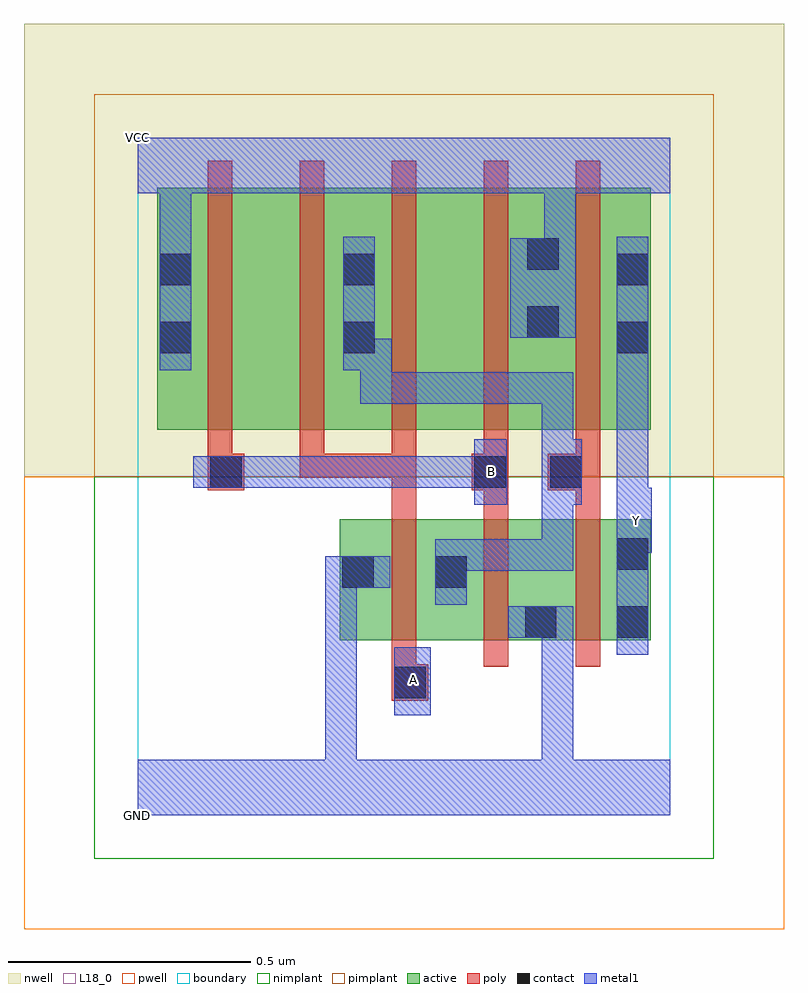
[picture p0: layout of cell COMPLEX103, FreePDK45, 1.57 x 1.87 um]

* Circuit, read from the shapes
.subckt COMPLEX103 A B GND VCC Y
M1 n1 A GND VSUBS nfet w=0.25u l=0.05u
M2 GND B n1 VSUBS nfet w=0.25u l=0.05u
M3 Y n1 GND VSUBS nfet w=0.25u l=0.05u
M4 n2 B VCC n3 pfet w=0.5u l=0.05u
M5 n1 A n2 n3 pfet w=0.5u l=0.05u
M6 n4 A n1 n3 pfet w=0.5u l=0.05u
M7 VCC B n4 n3 pfet w=0.5u l=0.05u
M8 Y n1 VCC n3 pfet w=0.5u l=0.05u
.ends

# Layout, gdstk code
import gdstk
lib = gdstk.Library(unit=1e-6, precision=1e-09)
def R(c, l, rs):  # rectangles x0, y0, x1, y1
    for r in rs: c.add(gdstk.rectangle(r[:2], r[2:], *l))
def A(c, l, x, y, w, h, nx, ny, dx, dy):  # array of equal rectangles
    R(c, l, [(x+i*dx, y+j*dy, x+i*dx+w, y+j*dy+h) for i in range(nx) for j in range(ny)])
active = (1, 0)
pwell = (2, 0)
nwell = (3, 0)
nimplant = (4, 0)
pimplant = (5, 0)
poly = (9, 0)
contact = (10, 0)
metal1 = (11, 0)
L18_0 = (18, 0)
boundary = (235, 0)

complex103 = lib.new_cell('COMPLEX103')
R(complex103, active, [(0.417,0.362,0.685,0.612), (0.61,0.362,0.87,0.612), (0.795,0.362,1.06,0.612), (0.795,0.362,0.87,0.497), (0.985,0.362,1.06,0.612), (0.417,0.395,0.492,0.612), (0.61,0.395,0.685,0.54), (0.04,0.797,0.115,1.297), (0.04,0.797,0.265,1.297), (0.265,0.797,0.495,1.297), (0.42,0.797,0.495,1.2), (0.42,0.797,0.645,1.297), (0.645,0.797,0.875,1.297), (0.8,0.797,1.06,1.297), (0.8,0.797,0.875,1.297), (0.985,0.797,1.06,1.2)])
R(complex103, pwell, [(-0.235,-0.235,1.335,0.7)])
R(complex103, nwell, [(-0.235,0.7,1.335,1.635)])
R(complex103, nimplant, [(-0.09,-0.09,1.19,0.7)])
R(complex103, pimplant, [(-0.09,0.7,1.19,1.49)])
A(complex103, poly, 0.525, 0.307, 0.05, 0.36, 3, 1, 0.19, 0)
A(complex103, poly, 0.145, 0.697, 0.05, 0.095, 5, 1, 0.19, 0)
A(complex103, poly, 0.145, 0.742, 0.05, 0.61, 5, 1, 0.19, 0)
R(complex103, poly, [(0.525,0.237,0.6,0.312), (0.525,0.262,0.575,0.357), (0.525,0.617,0.575,0.747), (0.715,0.617,0.765,0.722), (0.905,0.617,0.955,0.722), (0.145,0.672,0.22,0.747), (0.69,0.672,0.765,0.747), (0.847,0.672,0.955,0.747), (0.335,0.697,0.575,0.747), (0.335,0.697,0.385,0.747), (0.335,0.697,0.385,0.747), (0.335,0.697,0.385,0.747), (0.525,0.697,0.575,0.747)])
R(complex103, contact, [(0.53,0.242,0.595,0.307), (0.8,0.367,0.865,0.432), (0.99,0.367,1.055,0.432), (0.422,0.47,0.487,0.535), (0.615,0.47,0.68,0.535), (0.99,0.507,1.055,0.572), (0.15,0.677,0.215,0.742), (0.695,0.677,0.76,0.742), (0.852,0.677,0.917,0.742), (0.045,0.955,0.11,1.02), (0.425,0.955,0.49,1.02), (0.99,0.955,1.055,1.02), (0.805,0.987,0.87,1.052), (0.045,1.095,0.11,1.16), (0.425,1.095,0.49,1.16), (0.99,1.095,1.055,1.16), (0.805,1.127,0.87,1.192)])
R(complex103, metal1, [(0,0,1.1,0.115), (0.387,0.05,0.452,0.115), (0.387,0.05,0.452,0.115), (0.387,0.05,0.452,0.535), (0.835,0.05,0.9,0.432), (0.53,0.207,0.605,0.347), (0.99,0.332,1.055,0.607), (0.765,0.367,0.9,0.432), (0.835,0.367,0.9,0.432), (0.835,0.367,0.9,0.432), (0.835,0.367,0.9,0.432), (0.835,0.367,0.9,0.432), (0.835,0.367,0.9,0.432), (0.835,0.367,0.9,0.432), (0.615,0.435,0.68,0.57), (0.387,0.47,0.452,0.535), (0.387,0.47,0.452,0.535), (0.387,0.47,0.452,0.535), (0.387,0.47,0.452,0.535), (0.387,0.47,0.522,0.535), (0.615,0.505,0.68,0.57), (0.615,0.505,0.68,0.57), (0.615,0.505,0.9,0.57), (0.835,0.505,0.9,0.57), (0.835,0.505,0.9,0.707), (0.99,0.542,1.055,0.607), (0.99,0.542,1.062,0.677), (0.99,0.612,1.055,0.985), (0.695,0.642,0.762,0.777), (0.835,0.642,0.9,0.707), (0.835,0.642,0.917,0.707), (0.835,0.642,0.9,0.915), (0.852,0.642,0.917,0.777), (0.115,0.677,0.25,0.742), (0.185,0.677,0.25,0.742), (0.185,0.677,0.25,0.742), (0.185,0.677,0.387,0.742), (0.322,0.677,0.387,0.742), (0.322,0.677,0.387,0.742), (0.322,0.677,0.387,0.742), (0.322,0.677,0.525,0.742), (0.46,0.677,0.525,0.742), (0.46,0.677,0.692,0.742), (0.627,0.677,0.692,0.742), (0.627,0.677,0.76,0.742), (0.46,0.85,0.525,0.985), (0.46,0.85,0.692,0.915), (0.627,0.85,0.692,0.915), (0.627,0.85,0.692,0.915), (0.627,0.85,0.692,0.915), (0.627,0.85,0.9,0.915), (0.835,0.85,0.9,0.915), (0.045,0.92,0.11,1.195), (0.425,0.92,0.49,1.195), (0.425,0.92,0.525,0.985), (0.99,0.92,1.055,1.195), (0.77,0.987,0.905,1.192), (0.84,1.127,0.905,1.35), (0.045,1.13,0.11,1.35), (0,1.285,1.1,1.4)])
R(complex103, L18_0, [(0,0,1.1,0.115), (0.387,0.05,0.452,0.115), (0.387,0.05,0.452,0.115), (0.387,0.05,0.452,0.535), (0.835,0.05,0.9,0.432), (0.53,0.207,0.605,0.347), (0.537,0.247,0.602,0.312), (0.99,0.332,1.055,0.607), (0.765,0.367,0.9,0.432), (0.835,0.367,0.9,0.432), (0.835,0.367,0.9,0.432), (0.835,0.367,0.9,0.432), (0.835,0.367,0.9,0.432), (0.835,0.367,0.9,0.432), (0.835,0.367,0.9,0.432), (0.387,0.47,0.522,0.535), (0.387,0.47,0.452,0.535), (0.387,0.47,0.452,0.535), (0.387,0.47,0.452,0.535), (0.387,0.47,0.452,0.535), (0.99,0.542,1.055,0.607), (0.99,0.542,1.062,0.677), (0.997,0.577,1.062,0.642), (0.99,0.612,1.055,0.985), (0.695,0.642,0.762,0.777), (0.115,0.677,0.25,0.742), (0.185,0.677,0.25,0.742), (0.185,0.677,0.25,0.742), (0.185,0.677,0.387,0.742), (0.322,0.677,0.387,0.742), (0.322,0.677,0.387,0.742), (0.322,0.677,0.387,0.742), (0.322,0.677,0.525,0.742), (0.46,0.677,0.525,0.742), (0.46,0.677,0.692,0.742), (0.627,0.677,0.692,0.742), (0.627,0.677,0.76,0.742), (0.697,0.677,0.762,0.742), (0.045,0.92,0.11,1.195), (0.99,0.92,1.055,1.195), (0.77,0.987,0.905,1.192), (0.84,1.127,0.905,1.35), (0.045,1.13,0.11,1.35), (0,1.285,1.1,1.4)])
R(complex103, boundary, [(0,0,1.1,1.4)])
complex103.add(gdstk.Label('A', (0.57,0.28), layer=11, texttype=0))
complex103.add(gdstk.Label('B', (0.73,0.71), layer=11, texttype=0))
complex103.add(gdstk.Label('Y', (1.03,0.61), layer=11, texttype=0))
complex103.add(gdstk.Label('VCC', (0,1.4), layer=11, texttype=0))
complex103.add(gdstk.Label('GND', (0,0), layer=11, texttype=0))

lib.write_gds('COMPLEX103.gds')
